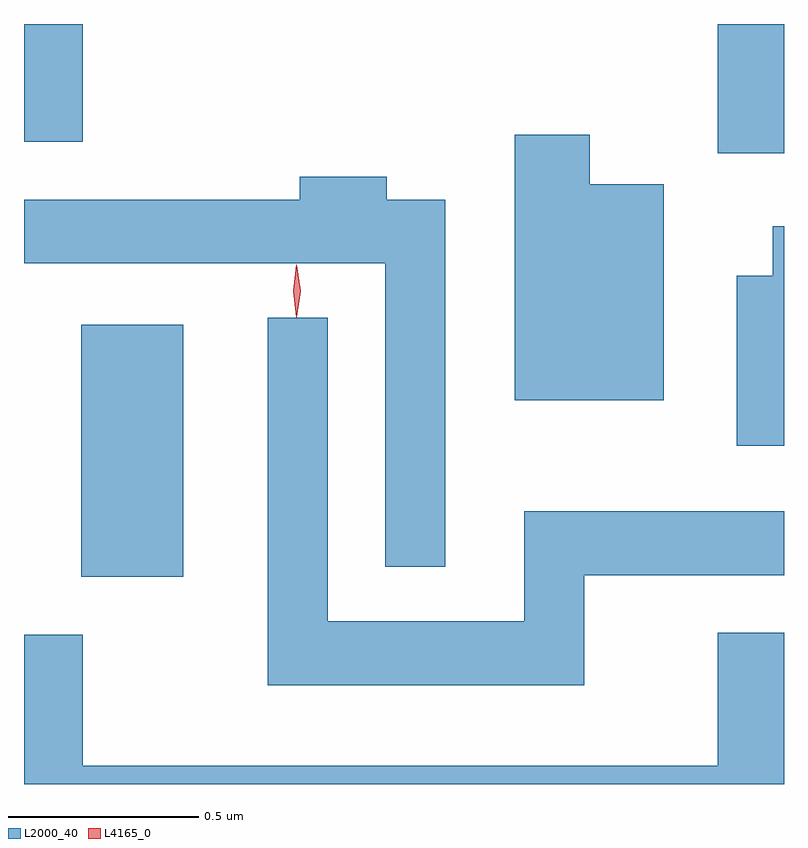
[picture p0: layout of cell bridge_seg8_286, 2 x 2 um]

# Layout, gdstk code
import gdstk
lib = gdstk.Library(unit=1e-6, precision=1e-09)
def R(c, l, rs):  # rectangles x0, y0, x1, y1
    for r in rs: c.add(gdstk.rectangle(r[:2], r[2:], *l))
def P(c, l, *ps):  # polygons
    for p in ps: c.add(gdstk.Polygon(p, *l))
L2000_40 = (2000, 40)
L4165_0 = (4165, 0)

bridge_seg8_286 = lib.new_cell('bridge_seg8_286')
R(bridge_seg8_286, L2000_40, [(1276.796,1821.641,1277.064,1822.304), (1278.471,1822.756,1278.645,1823.096), (1276.645,1822.786,1276.799,1823.096)])
P(bridge_seg8_286, L2000_40, [(1278.329,1822.674),(1278.134,1822.674),(1278.134,1822.804),(1277.936,1822.804),(1277.936,1822.106),(1278.329,1822.106)],
  [(1277.754,1822.634),(1277.599,1822.634),(1277.599,1822.694),(1277.371,1822.694),(1277.371,1822.634),(1276.645,1822.634),(1276.645,1822.466),(1277.596,1822.466),(1277.596,1821.668),(1277.754,1821.668)],
  [(1278.645,1822.564),(1278.616,1822.564),(1278.616,1822.434),(1278.521,1822.434),(1278.521,1821.986),(1278.645,1821.986)],
  [(1278.119,1821.646),(1278.645,1821.646),(1278.645,1821.814),(1277.961,1821.814),(1277.961,1821.524),(1277.444,1821.524),(1277.444,1822.323),(1277.286,1822.323),(1277.286,1821.356),(1278.119,1821.356)],
  [(1278.645,1821.494),(1278.471,1821.494),(1278.471,1821.144),(1276.799,1821.144),(1276.799,1821.489),(1276.645,1821.489),(1276.645,1821.096),(1278.645,1821.096)])
P(bridge_seg8_286, L4165_0, [(1277.362,1822.327),(1277.353,1822.394),(1277.362,1822.46),(1277.363,1822.46),(1277.363,1822.46),(1277.373,1822.394),(1277.363,1822.327),(1277.363,1822.327)],
  [(1277.363,1822.323),(1277.362,1822.324),(1277.353,1822.393),(1277.362,1822.462),(1277.363,1822.463),(1277.363,1822.462),(1277.373,1822.393),(1277.363,1822.324)])

lib.write_gds('bridge_seg8_286.gds')
